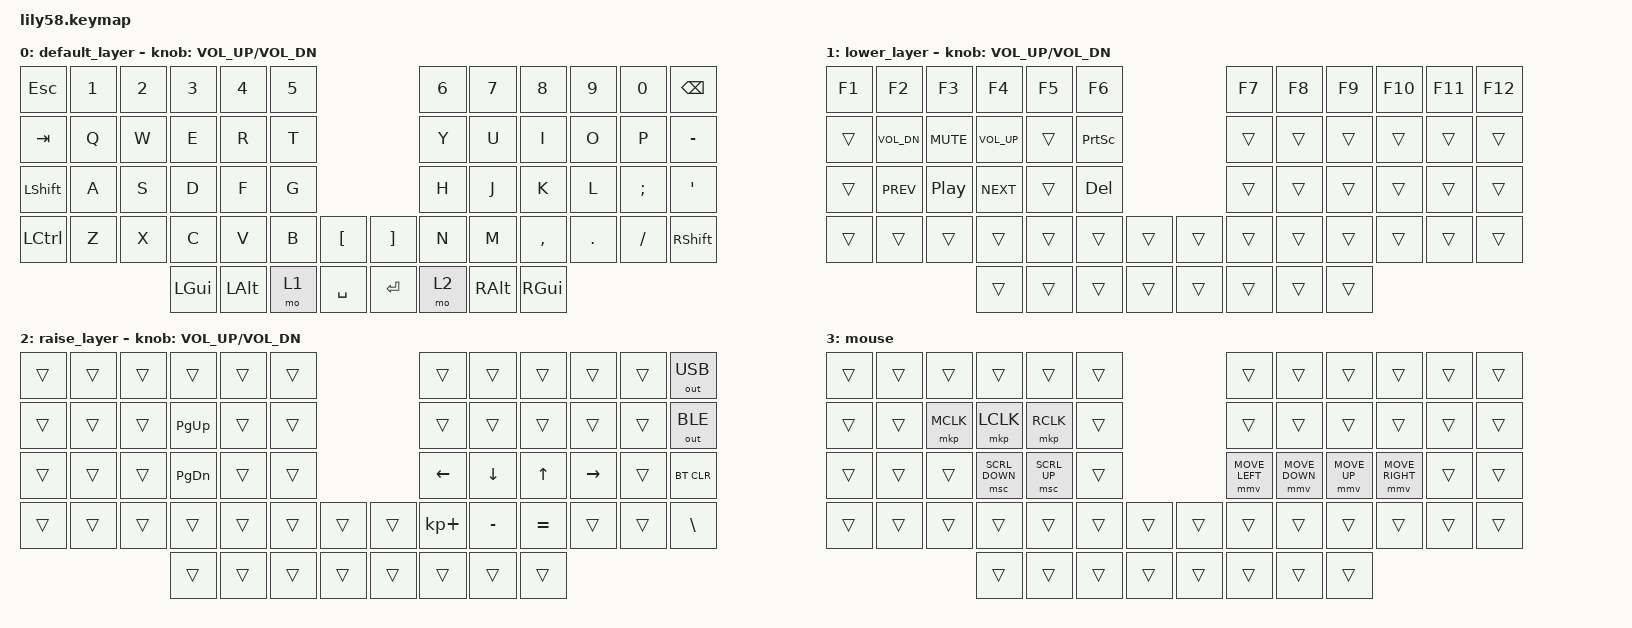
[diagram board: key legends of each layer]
/*
 * Copyright (c) 2020 The ZMK Contributors
 *
 * SPDX-License-Identifier: MIT
 */

#define ZMK_POINTING_DEFAULT_MOVE_VAL 900
#define ZMK_POINTING_DEFAULT_SCRL_VAL 20

#include <behaviors.dtsi>
#include <dt-bindings/zmk/keys.h>
#include <dt-bindings/zmk/outputs.h>
#include <dt-bindings/zmk/pointing.h>

/ {
    keymap {
        compatible = "zmk,keymap";

        default_layer {
            // ------------------------------------------------------------------------------------------------------------
            // |  ESC  |  1  |  2  |  3   |  4   |  5   |                   |  6   |  7    |  8    |  9   |   0   |   `   |
            // |  TAB  |  Q  |  W  |  E   |  R   |  T   |                   |  Y   |  U    |  I    |  O   |   P   |   -   |
            // | SHIFT |  A  |  S  |  D   |  F   |  G   |                   |  H   |  J    |  K    |  L   |   ;   |   '   |
            // |  CTRL |  Z  |  X  |  C   |  V   |  B   |   "["  |  |  "]"  |  N   |  M    |  ,    |  .   |   /   | SHIFT |
            //                     | GUI  | ALT  | LOWER|  SPACE |  | ENTER | RAISE|  ALT  | GUI   |

            bindings = <
&kp ESC    &kp N1  &kp N2  &kp N3    &kp N4    &kp N5                         &kp N6  &kp N7    &kp N8     &kp N9   &kp N0    &kp BSPC
&kp TAB    &kp Q   &kp W   &kp E     &kp R     &kp T                          &kp Y   &kp U     &kp I      &kp O    &kp P     &kp MINUS
&kp LSHFT  &kp A   &kp S   &kp D     &kp F     &kp G                          &kp H   &kp J     &kp K      &kp L    &kp SEMI  &kp SQT
&kp LCTRL  &kp Z   &kp X   &kp C     &kp V     &kp B   &kp LBKT     &kp RBKT  &kp N   &kp M     &kp COMMA  &kp DOT  &kp FSLH  &kp RSHFT
                           &kp LGUI  &kp LALT  &mo 1   &kp SPACE    &kp RET   &mo 2   &kp RALT  &kp RGUI
            >;

            sensor-bindings = <&inc_dec_kp C_VOL_UP C_VOL_DN>;
        };

        lower_layer {
            // ----------------------------------------------------------------------------------------------------------
            // |  F1  |  F2  |  F3  |  F4  |  F5  |  F6  |                   |  F7  |  F8   |  F9  |  F10 |  F11 |  F12 |
            // |      | VOL- | MUTE | VOL+ |      | PSCN |                   |      |       |      |      |      |      |
            // |      | PREV |PAUSE | NEXT |      |  DEL |                   |      |       |      |      |      |      |
            // |      |      |      |      |      |      |        |  |       |      |       |      |      |      |      |
            //                      |      |      |      |        |  |       |      |       |      |

            bindings = <
&kp F1  &kp F2        &kp F3      &kp F4        &kp F5  &kp F6                       &kp F7  &kp F8  &kp F9  &kp F10  &kp F11  &kp F12
&trans  &kp C_VOL_DN  &kp C_MUTE  &kp C_VOL_UP  &trans  &kp PSCRN                    &trans  &trans  &trans  &trans   &trans   &trans
&trans  &kp C_PREV    &kp C_PP    &kp C_NEXT    &trans  &kp DEL                      &trans  &trans  &trans  &trans   &trans   &trans
&trans  &trans        &trans      &trans        &trans  &trans     &trans    &trans  &trans  &trans  &trans  &trans   &trans   &trans
                                  &trans        &trans  &trans     &trans    &trans  &trans  &trans  &trans
            >;

            sensor-bindings = <&inc_dec_kp C_VOL_UP C_VOL_DN>;
        };

        raise_layer {
            // ------------------------------------------------------------------------------------------------------
            // |      |      |      |      |      |      |                |      |      |      |      |      |      |
            // |      |      |      |PAGEUP|      |      |                |      |      |      |      |      |      |
            // |      |      |      |PAGEDN|      |      |                |  <-  |  v   |  ^   |  ->  |      |      |
            // |      |      |      |      |      |      |      |  |      |  +   |  -   |  =   |      |      |  \   |
            //                      |      |      |      |      |  |      |      |      |      |

            bindings = <
&trans  &trans  &trans  &trans     &trans  &trans                    &trans       &trans     &trans     &trans     &trans  &out OUT_USB
&trans  &trans  &trans  &kp PG_UP  &trans  &trans                    &trans       &trans     &trans     &trans     &trans  &out OUT_BLE
&trans  &trans  &trans  &kp PG_DN  &trans  &trans                    &kp LEFT     &kp DOWN   &kp UP     &kp RIGHT  &trans  &bt BT_CLR
&trans  &trans  &trans  &trans     &trans  &trans  &trans    &trans  &kp KP_PLUS  &kp MINUS  &kp EQUAL  &trans     &trans  &kp BSLH
                        &trans     &trans  &trans  &trans    &trans  &trans       &trans     &trans
            >;

            sensor-bindings = <&inc_dec_kp C_VOL_UP C_VOL_DN>;
        };

        mouse {
            bindings = <
&trans  &trans  &trans     &trans          &trans        &trans                    &trans          &trans          &trans        &trans           &trans  &trans
&trans  &trans  &mkp MCLK  &mkp LCLK       &mkp RCLK     &trans                    &trans          &trans          &trans        &trans           &trans  &trans
&trans  &trans  &trans     &msc SCRL_DOWN  &msc SCRL_UP  &trans                    &mmv MOVE_LEFT  &mmv MOVE_DOWN  &mmv MOVE_UP  &mmv MOVE_RIGHT  &trans  &trans
&trans  &trans  &trans     &trans          &trans        &trans  &trans    &trans  &trans          &trans          &trans        &trans           &trans  &trans
                           &trans          &trans        &trans  &trans    &trans  &trans          &trans          &trans
            >;
        };
    };
};
